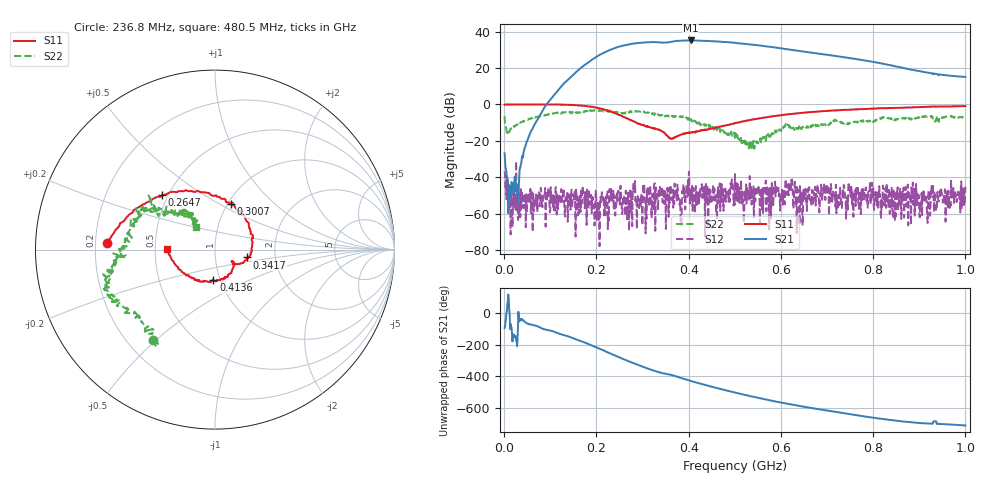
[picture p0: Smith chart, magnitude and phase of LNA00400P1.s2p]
! Created with skrf 1.9.0 (http://scikit-rf.org).
# Hz S RI R 50.0
!freq ReS11 ImS11 ReS21 ImS21 ReS12 ImS12 ReS22 ImS22
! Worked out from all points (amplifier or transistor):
!   1001 points, 1 MHz to 1 GHz, reference 50 ohm
!   highest |S21| = 35.1 dB at 404.6 MHz (marker M1)
!   |S21| within 3 dB of that: 255.5 MHz to 561.1 MHz (305.6 MHz wide, 74.9 % of centre)
!   unconditionally stable (mu >= 1): 231.9 MHz to 280.4 MHz; 303.8 MHz to 400.3 MHz; 401.2 MHz to end of sweep (the widest 3 of 44)
!   at 166.8 MHz: K = 0.71, MSG = 33.2 dB, |S12| = -46.4 dB
!   at 500.5 MHz: K = 1.02, MAG = 35.1 dB, |S12| = -38.2 dB
!   at 1 GHz: K = 2.77, MAG = 22.8 dB, |S12| = -45.1 dB
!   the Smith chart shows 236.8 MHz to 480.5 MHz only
!   S11 on the Smith chart (normalised r, x): 236.8 MHz: 0.25, +0.03; 264.7 MHz: 0.46, +0.34; 300.7 MHz: 1.03, +0.57; 341.7 MHz: 1.43, -0.13; 413.6 MHz: 0.93, -0.33; 480.5 MHz: 0.58, +0.00
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1000000  0.9759 -0.000192  -0.0028 -0.0457  -0.00457 0.0139  0.3481 0.3227
1.08892e8  0.5295 -0.8428  -0.8769 -1.621  -0.00125 0.000508  0.4191 -0.3861
1.67833e8  -0.2199 -0.9017  -10.43 -0.3382  0.000868 0.00239  0.0294 -0.6346
2.06794e8  -0.6402 -0.448  -16.14 16.12  0.00012 4.69e-05  -0.2096 -0.6438
2.36764e8  -0.6034 0.0384  -3.779 33.99  -0.00318 0.00232  -0.3464 -0.5038
2.64736e8  -0.2937 0.3047  20.39 37.91  0.00036 0.00129  -0.4859 -0.3391
2.82718e8  -0.0858 0.3233  35.8 30.62  -0.00386 0.00033  -0.6009 -0.2505
3.007e8  0.0883 0.2555  46.54 17.44  -0.00181 0.000172  -0.5861 -0.1633
3.34666e8  0.206 -0.00626  49.35 -11.76  -0.00162 0.0043  -0.506 -0.00477
3.41659e8  0.1793 -0.0438  47.43 -16.18  -0.00516 -0.00211  -0.4977 0.0566
3.72628e8  0.1051 -0.0777  42.22 -35.62  -0.000285 0.00405  -0.4335 0.2021
4.04596e8  0.0309 -0.1647  20.19 -53.32  0.000191 0.00235  -0.305 0.2115
4.13587e8  -0.00886 -0.1705  13 -55.06  -2.21e-05 -0.00102  -0.2857 0.2076
4.45555e8  -0.1581 -0.1452  -11.64 -53.46  -0.00168 0.000908  -0.1334 0.1876
4.8052e8  -0.2654 0.000912  -32.1 -40.46  0.00195 -0.000842  -0.1042 0.1284
5.005e8  -0.2906 0.1125  -39.24 -29.65  0.0119 0.00305  -0.0702 0.0802
5.39461e8  -0.2298 0.3088  -42.7 -8.156  0.00442 -0.00186  -0.0782 0.00363
5.85415e8  -0.0577 0.4767  -35.23 11.23  0.00293 -0.00395  -0.165 -0.0474
6.67333e8  0.3253 0.5295  -12.5 22.9  0.000426 -0.00363  -0.2647 0.00499
7.53247e8  0.6229 0.3676  3.681 17.98  0.00165 -0.004  -0.2932 0.0905
8.34166e8  0.7798 0.1485  8.665 8.518  0.00017 -0.00504  -0.3799 0.1579
1e9  0.8147 -0.3814  5.652 0.8632  -0.0033 -0.00448  -0.1279 0.4386
